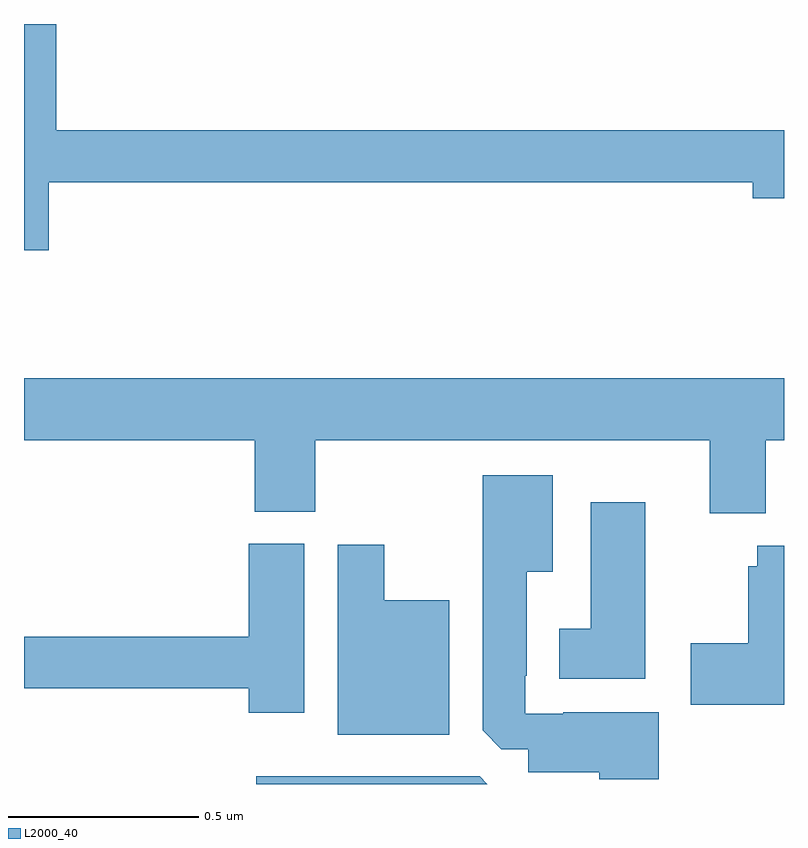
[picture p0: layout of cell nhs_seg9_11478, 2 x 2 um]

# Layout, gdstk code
import gdstk
lib = gdstk.Library(unit=1e-6, precision=1e-09)
def P(c, l, *ps):  # polygons
    for p in ps: c.add(gdstk.Polygon(p, *l))
L2000_40 = (2000, 40)

nhs_seg9_11478 = lib.new_cell('nhs_seg9_11478')
P(nhs_seg9_11478, L2000_40, [(256.065,1213.084),(257.918,1213.084),(257.918,1213.042),(258,1213.042),(258,1213.22),(256.085,1213.22),(256.085,1213.5),(256,1213.5),(256,1212.905),(256.065,1212.905)],
  [(257.952,1212.404),(258,1212.404),(258,1212.568),(256,1212.568),(256,1212.404),(256.607,1212.404),(256.607,1212.217),(256.767,1212.217),(256.767,1212.404),(257.804,1212.404),(257.804,1212.212),(257.952,1212.212)],
  [(257.671,1211.689),(257.419,1211.689),(257.419,1211.685),(257.319,1211.685),(257.319,1211.785),(257.323,1211.785),(257.323,1212.059),(257.392,1212.059),(257.392,1212.313),(257.207,1212.313),(257.207,1211.641),(257.256,1211.592),(257.327,1211.592),(257.327,1211.531),(257.514,1211.531),(257.514,1211.513),(257.671,1211.513)],
  [(257.635,1212.241),(257.492,1212.241),(257.492,1211.908),(257.408,1211.908),(257.408,1211.777),(257.635,1211.777)],
  [(256.738,1212.132),(256.592,1212.132),(256.592,1211.888),(256,1211.888),(256,1211.752),(256.592,1211.752),(256.592,1211.688),(256.738,1211.688)],
  [(257.119,1211.983),(256.948,1211.983),(256.948,1212.13),(256.826,1212.13),(256.826,1211.63),(257.119,1211.63)],
  [(258,1212.127),(257.929,1212.127),(257.929,1212.073),(257.906,1212.073),(257.906,1211.871),(257.754,1211.871),(257.754,1211.708),(258,1211.708)],
  [(257.199,1211.52),(256.611,1211.52),(256.611,1211.5),(257.219,1211.5)])

lib.write_gds('nhs_seg9_11478.gds')
